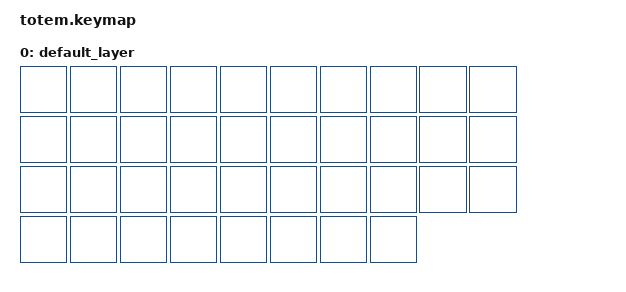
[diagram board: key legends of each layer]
/ {
    keymap {
        compatible = "zmk,keymap";

        default_layer {
            bindings = 
            <&none>, <&none>, <&none>, <&none>, <&none>, <&none>, <&none>, <&none>, <&none>, <&none>,
            <&none>, <&none>, <&none>, <&none>, <&none>, <&none>, <&none>, <&none>, <&none>, <&none>,
            <&none>, <&none>, <&none>, <&none>, <&none>, <&none>, <&none>, <&none>, <&none>, <&none>,
            <&none>, <&none>, <&none>, <&none>, <&none>, <&none>, <&none>, <&none>
            >;
        };
    };
}
